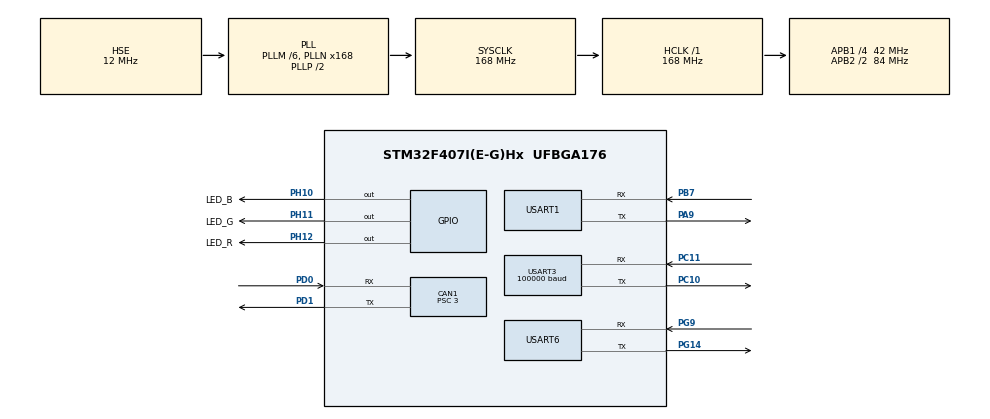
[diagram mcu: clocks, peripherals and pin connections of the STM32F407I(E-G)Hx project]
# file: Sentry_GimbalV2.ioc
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CAN1.BS1=CAN_BS1_10TQ
CAN1.BS2=CAN_BS2_3TQ
CAN1.CalculateBaudRate=1000000
CAN1.CalculateTimeBit=1000
CAN1.CalculateTimeQuantum=71.42857142857143
CAN1.Prescaler=3
Dma.Request0=USART1_RX
Dma.Request1=USART1_TX
Dma.Request2=USART3_RX
Dma.Request3=USART6_RX
Dma.Request4=USART6_TX
Dma.USART1_RX.0.Direction=DMA_PERIPH_TO_MEMORY
Dma.USART1_RX.0.FIFOMode=DMA_FIFOMODE_DISABLE
Dma.USART1_RX.0.Instance=DMA2_Stream2
Dma.USART1_RX.0.MemDataAlignment=DMA_MDATAALIGN_BYTE
Dma.USART1_RX.0.MemInc=DMA_MINC_ENABLE
Dma.USART1_RX.0.Mode=DMA_CIRCULAR
Dma.USART1_RX.0.PeriphDataAlignment=DMA_PDATAALIGN_BYTE
Dma.USART1_RX.0.PeriphInc=DMA_PINC_DISABLE
Dma.USART1_RX.0.Priority=DMA_PRIORITY_LOW
Dma.USART1_TX.1.Direction=DMA_MEMORY_TO_PERIPH
Dma.USART1_TX.1.FIFOMode=DMA_FIFOMODE_DISABLE
Dma.USART1_TX.1.Instance=DMA2_Stream7
Dma.USART1_TX.1.MemDataAlignment=DMA_MDATAALIGN_BYTE
Dma.USART1_TX.1.MemInc=DMA_MINC_ENABLE
Dma.USART1_TX.1.Mode=DMA_CIRCULAR
Dma.USART1_TX.1.PeriphDataAlignment=DMA_PDATAALIGN_BYTE
Dma.USART1_TX.1.PeriphInc=DMA_PINC_DISABLE
Dma.USART1_TX.1.Priority=DMA_PRIORITY_LOW
Dma.USART3_RX.2.Direction=DMA_PERIPH_TO_MEMORY
Dma.USART3_RX.2.FIFOMode=DMA_FIFOMODE_DISABLE
Dma.USART3_RX.2.Instance=DMA1_Stream1
Dma.USART3_RX.2.MemDataAlignment=DMA_MDATAALIGN_BYTE
Dma.USART3_RX.2.MemInc=DMA_MINC_ENABLE
Dma.USART3_RX.2.Mode=DMA_CIRCULAR
Dma.USART3_RX.2.PeriphDataAlignment=DMA_PDATAALIGN_BYTE
Dma.USART3_RX.2.PeriphInc=DMA_PINC_DISABLE
Dma.USART3_RX.2.Priority=DMA_PRIORITY_VERY_HIGH
Dma.USART6_RX.3.Direction=DMA_PERIPH_TO_MEMORY
Dma.USART6_RX.3.FIFOMode=DMA_FIFOMODE_DISABLE
Dma.USART6_RX.3.Instance=DMA2_Stream1
Dma.USART6_RX.3.MemDataAlignment=DMA_MDATAALIGN_BYTE
Dma.USART6_RX.3.MemInc=DMA_MINC_ENABLE
Dma.USART6_RX.3.Mode=DMA_CIRCULAR
Dma.USART6_RX.3.PeriphDataAlignment=DMA_PDATAALIGN_BYTE
Dma.USART6_RX.3.PeriphInc=DMA_PINC_DISABLE
Dma.USART6_RX.3.Priority=DMA_PRIORITY_LOW
Dma.USART6_TX.4.Direction=DMA_MEMORY_TO_PERIPH
Dma.USART6_TX.4.FIFOMode=DMA_FIFOMODE_DISABLE
Dma.USART6_TX.4.Instance=DMA2_Stream6
Dma.USART6_TX.4.MemDataAlignment=DMA_MDATAALIGN_BYTE
Dma.USART6_TX.4.MemInc=DMA_MINC_ENABLE
Dma.USART6_TX.4.Mode=DMA_CIRCULAR
Dma.USART6_TX.4.PeriphDataAlignment=DMA_PDATAALIGN_BYTE
Dma.USART6_TX.4.PeriphInc=DMA_PINC_DISABLE
Dma.USART6_TX.4.Priority=DMA_PRIORITY_LOW
FREERTOS.Tasks01=defaultTask,0,128,StartDefaultTask,Default,NULL,Dynamic,NULL,NULL
Mcu.Family=STM32F4
Mcu.Name=STM32F407I(E-G)Hx
Mcu.Package=UFBGA176
NVIC.CAN1_RX0_IRQn=true\:5\:0\:false\:false\:true\:true\:true\:true\:true
NVIC.CAN1_RX1_IRQn=true\:5\:0\:false\:false\:true\:true\:true\:true\:true
NVIC.DMA1_Stream1_IRQn=true\:5\:0\:false\:false\:true\:true\:false\:true\:true
NVIC.DMA2_Stream1_IRQn=true\:5\:0\:false\:false\:true\:true\:false\:true\:true
NVIC.DMA2_Stream2_IRQn=true\:5\:0\:false\:false\:true\:true\:false\:true\:true
NVIC.DMA2_Stream6_IRQn=true\:5\:0\:false\:false\:true\:true\:false\:true\:true
NVIC.DMA2_Stream7_IRQn=true\:5\:0\:false\:false\:true\:true\:false\:true\:true
NVIC.PriorityGroup=NVIC_PRIORITYGROUP_4
NVIC.USART1_IRQn=true\:5\:0\:false\:false\:true\:true\:true\:true\:true
NVIC.USART3_IRQn=true\:5\:0\:false\:false\:true\:true\:true\:true\:true
NVIC.USART6_IRQn=true\:5\:0\:false\:false\:true\:true\:true\:true\:true
PA13.Mode=Serial_Wire
PA13.Signal=SYS_JTMS-SWDIO
PA14.Mode=Serial_Wire
PA14.Signal=SYS_JTCK-SWCLK
PA9.Mode=Asynchronous
PA9.Signal=USART1_TX
PB7.Mode=Asynchronous
PB7.Signal=USART1_RX
PC10.GPIO_PuPd=GPIO_PULLUP
PC10.Mode=Asynchronous
PC10.Signal=USART3_TX
PC11.GPIO_PuPd=GPIO_PULLUP
PC11.Mode=Asynchronous
PC11.Signal=USART3_RX
PD0.Mode=CAN_Activate
PD0.Signal=CAN1_RX
PD1.Mode=CAN_Activate
PD1.Signal=CAN1_TX
PG14.Mode=Asynchronous
PG14.Signal=USART6_TX
PG9.Mode=Asynchronous
PG9.Signal=USART6_RX
PH0-OSC_IN.Mode=HSE-External-Oscillator
PH0-OSC_IN.Signal=RCC_OSC_IN
PH1-OSC_OUT.Mode=HSE-External-Oscillator
PH1-OSC_OUT.Signal=RCC_OSC_OUT
PH10.GPIO_Label=LED_B
PH10.GPIO_PuPd=GPIO_PULLDOWN
PH10.Signal=GPIO_Output
PH11.GPIO_Label=LED_G
PH11.GPIO_PuPd=GPIO_PULLDOWN
PH11.Signal=GPIO_Output
PH12.GPIO_Label=LED_R
PH12.GPIO_PuPd=GPIO_PULLDOWN
PH12.Signal=GPIO_Output
ProjectManager.HeapSize=0x200
ProjectManager.StackSize=0x400
ProjectManager.TargetToolchain=MDK-ARM V5.32
RCC.48MHZClocksFreq_Value=84000000
RCC.AHBFreq_Value=168000000
RCC.APB1CLKDivider=RCC_HCLK_DIV4
RCC.APB1Freq_Value=42000000
RCC.APB1TimFreq_Value=84000000
RCC.APB2CLKDivider=RCC_HCLK_DIV2
RCC.APB2Freq_Value=84000000
RCC.APB2TimFreq_Value=168000000
RCC.CortexFreq_Value=168000000
RCC.HCLKFreq_Value=168000000
RCC.HSE_VALUE=12000000
RCC.HSI_VALUE=16000000
RCC.LSE_VALUE=32768
RCC.PLLM=6
RCC.PLLN=168
RCC.PLLSourceVirtual=RCC_PLLSOURCE_HSE
RCC.SYSCLKFreq_VALUE=168000000
RCC.SYSCLKSource=RCC_SYSCLKSOURCE_PLLCLK
RCC.VCOOutputFreq_Value=336000000
USART1.VirtualMode=VM_ASYNC
USART3.BaudRate=100000
USART3.VirtualMode=VM_ASYNC
USART6.VirtualMode=VM_ASYNC
VP_FREERTOS_VS_CMSIS_V1.Mode=CMSIS_V1
board=custom

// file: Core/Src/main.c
/* USER CODE BEGIN Header */
/**
  ******************************************************************************
  * @file           : main.c
  * @brief          : Main program body
  ******************************************************************************
  * @attention
  *
  * Copyright (c) 2025 STMicroelectronics.
  * All rights reserved.
  *
  * This software is licensed under terms that can be found in the LICENSE file
  * in the root directory of this software component.
  * If no LICENSE file comes with this software, it is provided AS-IS.
  *
  ******************************************************************************
  */
/* USER CODE END Header */
#include "main.h"
#include "cmsis_os.h"
#include "can.h"
#include "dma.h"
#include "usart.h"
#include "gpio.h"

/* USER CODE BEGIN Includes */
#include "bsp_rc.h"
#include "CAN_in_motors.h"
#include "car.h"
/* USER CODE END Includes */

void SystemClock_Config(void);
void MX_FREERTOS_Init(void);

int main(void)
{

  /* MCU Configuration--------------------------------------------------------*/

  /* Reset of all peripherals, Initializes the Flash interface and the Systick. */
  HAL_Init();

  /* Configure the system clock */
  SystemClock_Config();

  /* Initialize all configured peripherals */
  MX_GPIO_Init();
  MX_DMA_Init();
  MX_USART1_UART_Init();
  MX_CAN1_Init();
  MX_USART3_UART_Init();
  MX_USART6_UART_Init();
  /* USER CODE BEGIN 2 */
  remote_control_init();
  can_filter_init();
  car_init();

  HAL_GPIO_WritePin(GPIOH, LED_R_Pin|LED_G_Pin|LED_B_Pin, GPIO_PIN_RESET);

  /* USER CODE END 2 */

  /* Call init function for freertos objects (in freertos.c) */
  MX_FREERTOS_Init();

  /* Start scheduler */
  osKernelStart();

  /* We should never get here as control is now taken by the scheduler */
  /* Infinite loop */
  while (1)
  {

  }
}

void SystemClock_Config(void)
{
  RCC_OscInitTypeDef RCC_OscInitStruct = {0};
  RCC_ClkInitTypeDef RCC_ClkInitStruct = {0};

  /** Configure the main internal regulator output voltage
  */
  __HAL_RCC_PWR_CLK_ENABLE();
  __HAL_PWR_VOLTAGESCALING_CONFIG(PWR_REGULATOR_VOLTAGE_SCALE1);

  /** Initializes the RCC Oscillators according to the specified parameters
  * in the RCC_OscInitTypeDef structure.
  */
  RCC_OscInitStruct.OscillatorType = RCC_OSCILLATORTYPE_HSE;
  RCC_OscInitStruct.HSEState = RCC_HSE_ON;
  RCC_OscInitStruct.PLL.PLLState = RCC_PLL_ON;
  RCC_OscInitStruct.PLL.PLLSource = RCC_PLLSOURCE_HSE;
  RCC_OscInitStruct.PLL.PLLM = 6;
  RCC_OscInitStruct.PLL.PLLN = 168;
  RCC_OscInitStruct.PLL.PLLP = RCC_PLLP_DIV2;
  RCC_OscInitStruct.PLL.PLLQ = 4;
  if (HAL_RCC_OscConfig(&RCC_OscInitStruct) != HAL_OK)
  {
    Error_Handler();
  }

  /** Initializes the CPU, AHB and APB buses clocks
  */
  RCC_ClkInitStruct.ClockType = RCC_CLOCKTYPE_HCLK|RCC_CLOCKTYPE_SYSCLK
                              |RCC_CLOCKTYPE_PCLK1|RCC_CLOCKTYPE_PCLK2;
  RCC_ClkInitStruct.SYSCLKSource = RCC_SYSCLKSOURCE_PLLCLK;
  RCC_ClkInitStruct.AHBCLKDivider = RCC_SYSCLK_DIV1;
  RCC_ClkInitStruct.APB1CLKDivider = RCC_HCLK_DIV4;
  RCC_ClkInitStruct.APB2CLKDivider = RCC_HCLK_DIV2;

  if (HAL_RCC_ClockConfig(&RCC_ClkInitStruct, FLASH_LATENCY_5) != HAL_OK)
  {
    Error_Handler();
  }
}

void Error_Handler(void)
{
  __disable_irq();
  while (1)
  {
  }
}

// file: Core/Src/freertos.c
/* USER CODE BEGIN Header */
/**
  ******************************************************************************
  * File Name          : freertos.c
  * Description        : Code for freertos applications
  ******************************************************************************
  * @attention
  *
  * Copyright (c) 2025 STMicroelectronics.
  * All rights reserved.
  *
  * This software is licensed under terms that can be found in the LICENSE file
  * in the root directory of this software component.
  * If no LICENSE file comes with this software, it is provided AS-IS.
  *
  ******************************************************************************
  */
/* USER CODE END Header */

#include "FreeRTOS.h"
#include "task.h"
#include "main.h"
#include "cmsis_os.h"

/* USER CODE BEGIN Includes */
#include "gimbal_task.h"
#include "ammo_booster_task.h"
#include "communication_tasks.h"
/* USER CODE END Includes */

osThreadId defaultTaskHandle;

/* USER CODE BEGIN FunctionPrototypes */
osThreadId gimbalTaskHandle;
osThreadId ammoTriggerTaskHandle;
osThreadId commuTaskHandle;
/* USER CODE END FunctionPrototypes */

void StartDefaultTask(void const * argument);

void MX_FREERTOS_Init(void); /* (MISRA C 2004 rule 8.1) */

/* GetIdleTaskMemory prototype (linked to static allocation support) */
void vApplicationGetIdleTaskMemory( StaticTask_t **ppxIdleTaskTCBBuffer, StackType_t **ppxIdleTaskStackBuffer, uint32_t *pulIdleTaskStackSize );

/* USER CODE BEGIN GET_IDLE_TASK_MEMORY */
static StaticTask_t xIdleTaskTCBBuffer;
static StackType_t xIdleStack[configMINIMAL_STACK_SIZE];

void vApplicationGetIdleTaskMemory( StaticTask_t **ppxIdleTaskTCBBuffer, StackType_t **ppxIdleTaskStackBuffer, uint32_t *pulIdleTaskStackSize )
{
  *ppxIdleTaskTCBBuffer = &xIdleTaskTCBBuffer;
  *ppxIdleTaskStackBuffer = &xIdleStack[0];
  *pulIdleTaskStackSize = configMINIMAL_STACK_SIZE;
  /* place for user code */
}
/* USER CODE END GET_IDLE_TASK_MEMORY */

void MX_FREERTOS_Init(void) {

  /* Create the thread(s) */
  /* definition and creation of defaultTask */
  osThreadDef(defaultTask, StartDefaultTask, osPriorityNormal, 0, 128);
  defaultTaskHandle = osThreadCreate(osThread(defaultTask), NULL);

  /* USER CODE BEGIN RTOS_THREADS */
  /* add threads, ... */
  osThreadDef(gimbalTask, StartGimbalTask, osPriorityHigh, 0, 256);
  gimbalTaskHandle = osThreadCreate(osThread(gimbalTask), NULL);

  osThreadDef(triggerTask, StartAmmoTriggerTask, osPriorityNormal, 0, 128);
  ammoTriggerTaskHandle = osThreadCreate(osThread(triggerTask), NULL);

  osThreadDef(commuTask, StartCommunicationTask, osPriorityNormal, 0, 256);
  commuTaskHandle = osThreadCreate(osThread(commuTask), NULL);

  /* USER CODE END RTOS_THREADS */

}

void StartDefaultTask(void const * argument)
{
  for(;;)
  {
    osDelay(1);
  }
}
